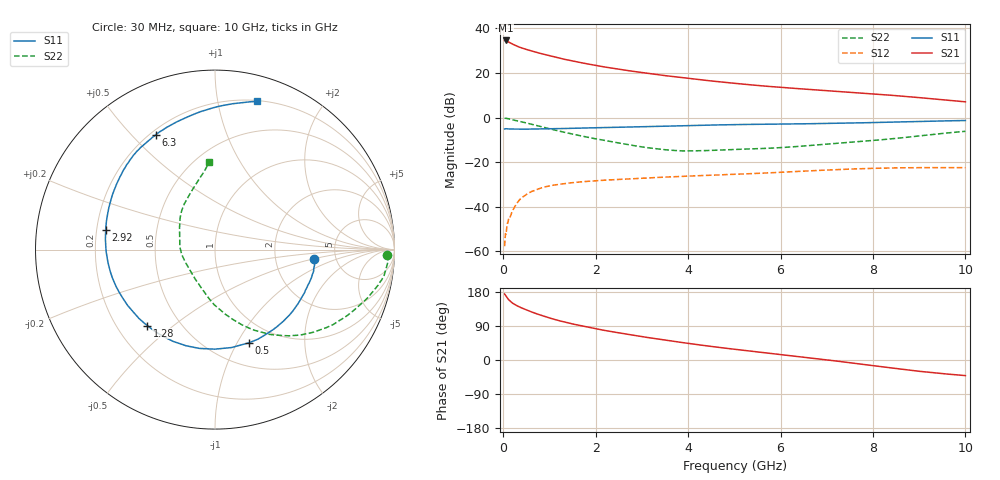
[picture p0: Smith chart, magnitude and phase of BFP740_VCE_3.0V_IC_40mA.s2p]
! Infineon Technologies  Discrete & RF Semiconductors
! BFP740
! VCE =  3.0 V,  IC =  40 mA
! Common Emitter S-Parameters:  Jan 2016
# GHz  S  MA  R  50
!  f  S11  S21  S12  S22
! GHz  MAG  ANG  MAG  ANG  MAG  ANG  MAG  ANG
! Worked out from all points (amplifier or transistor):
!   229 points, 30 MHz to 10 GHz, reference 50 ohm
!   highest |S21| = 34.6 dB at 50 MHz (marker M1)
!   |S21| within 3 dB of that: start of sweep to 350 MHz
!   unconditionally stable (mu >= 1): 5.511 GHz to 7.965 GHz; 8.05 GHz to 8.284 GHz
!   at 280 MHz: K = 0.33, MSG = 35.6 dB, |S12| = -38.9 dB
!   at 1.78 GHz: K = 0.56, MSG = 26.5 dB, |S12| = -28.7 dB
!   at 10 GHz: K = 0.98, MSG = 14.8 dB, |S12| = -22.5 dB
!   S11 on the Smith chart (normalised r, x): 30 MHz: 3.40, -0.51; 500 MHz: 0.75, -1.12; 1.28 GHz: 0.33, -0.41; 2.92 GHz: 0.24, +0.09; 6.3 GHz: 0.22, +0.59; 10 GHz: 0.21, +1.30
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0.03  0.5541 -5.4  53.38 174.1  0.0013 94.6  0.9604 -1.7
0.05  0.5615 -8.8  53.75 170.5  0.0025 87.9  0.9654 -4.2
0.08  0.56 -14.3  52.4 164.7  0.0038 83.3  0.9557 -7.5
0.11  0.5566 -19.4  50.27 160.1  0.005 80.9  0.9425 -10.5
0.15  0.5537 -25.7  47.6 155.2  0.006 82.8  0.918 -13.9
0.2  0.5522 -33.1  44.59 150.2  0.008 76.3  0.8917 -17.5
0.34  0.5511 -51.5  38.4 140.6  0.0137 68.3  0.8257 -26.2
0.5  0.5525 -70.0  33.8 132.2  0.0188 62.1  0.7569 -35.1
0.7  0.5547 -90.1  29.42 122.9  0.0237 54.6  0.6739 -44.9
0.82  0.557 -100.6  27.26 117.8  0.0262 50.9  0.6267 -50.0
1.02  0.5616 -115.7  24.13 110.2  0.0296 45.5  0.5551 -57.9
1.28  0.5673 -131.8  20.79 101.5  0.0325 40.1  0.4778 -66.4
1.7  0.5803 -151.7  16.92 89.9  0.0363 34.4  0.3845 -77.9
2.2  0.5979 -170.1  13.61 77.9  0.0394 30.1  0.3068 -90.9
2.92  0.6196 169.6  10.5 63.2  0.0432 25.8  0.2262 -109.6
3.4  0.6361 158.3  9.027 54.3  0.0456 23.7  0.1947 -125.9
4.2  0.6669 142.6  7.185 40.6  0.0495 20.0  0.1799 -156.4
5.1  0.6968 129.6  5.74 27.0  0.0538 16.8  0.1941 177.9
6.3  0.7207 117.2  4.522 10.4  0.0615 12.4  0.2218 152.9
6.8  0.7324 111.5  4.157 3.2  0.065 9.4  0.2425 144.0
8.4  0.7908 90.6  3.162 -20.9  0.074 -2.8  0.3331 116.0
10  0.8592 74.2  2.255 -41.2  0.0753 -13.4  0.4913 93.6
